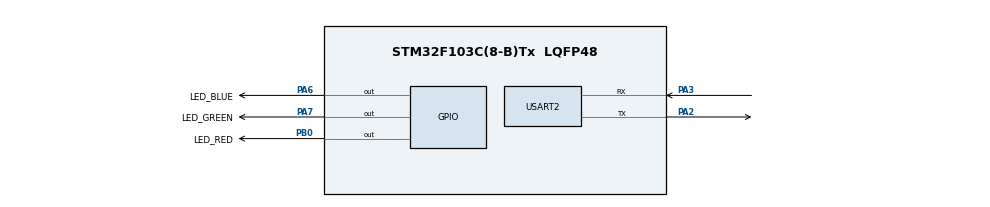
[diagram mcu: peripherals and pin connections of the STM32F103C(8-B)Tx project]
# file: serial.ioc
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Dma.Request0=USART2_TX
Dma.Request1=USART2_RX
Dma.USART2_RX.1.Direction=DMA_PERIPH_TO_MEMORY
Dma.USART2_RX.1.Instance=DMA1_Channel6
Dma.USART2_RX.1.MemDataAlignment=DMA_MDATAALIGN_BYTE
Dma.USART2_RX.1.MemInc=DMA_MINC_ENABLE
Dma.USART2_RX.1.Mode=DMA_NORMAL
Dma.USART2_RX.1.PeriphDataAlignment=DMA_PDATAALIGN_BYTE
Dma.USART2_RX.1.PeriphInc=DMA_PINC_DISABLE
Dma.USART2_RX.1.Priority=DMA_PRIORITY_LOW
Dma.USART2_TX.0.Direction=DMA_MEMORY_TO_PERIPH
Dma.USART2_TX.0.Instance=DMA1_Channel7
Dma.USART2_TX.0.MemDataAlignment=DMA_MDATAALIGN_BYTE
Dma.USART2_TX.0.MemInc=DMA_MINC_ENABLE
Dma.USART2_TX.0.Mode=DMA_NORMAL
Dma.USART2_TX.0.PeriphDataAlignment=DMA_PDATAALIGN_BYTE
Dma.USART2_TX.0.PeriphInc=DMA_PINC_DISABLE
Dma.USART2_TX.0.Priority=DMA_PRIORITY_LOW
Mcu.Family=STM32F1
Mcu.Name=STM32F103C(8-B)Tx
Mcu.Package=LQFP48
NVIC.DMA1_Channel6_IRQn=true\:0\:0\:false\:false\:true\:false\:true\:true
NVIC.DMA1_Channel7_IRQn=true\:0\:0\:false\:false\:true\:false\:true\:true
NVIC.PriorityGroup=NVIC_PRIORITYGROUP_4
NVIC.USART2_IRQn=true\:0\:0\:false\:false\:true\:true\:true\:true
PA13.Mode=Serial_Wire
PA13.Signal=SYS_JTMS-SWDIO
PA14.Mode=Serial_Wire
PA14.Signal=SYS_JTCK-SWCLK
PA2.Mode=Asynchronous
PA2.Signal=USART2_TX
PA3.Mode=Asynchronous
PA3.Signal=USART2_RX
PA6.GPIO_Label=LED_BLUE
PA6.Signal=GPIO_Output
PA7.GPIO_Label=LED_GREEN
PA7.Signal=GPIO_Output
PB0.GPIO_Label=LED_RED
PB0.Signal=GPIO_Output
ProjectManager.HeapSize=0x200
ProjectManager.StackSize=0x400
ProjectManager.TargetToolchain=STM32CubeIDE
RCC.APB1Freq_Value=8000000
RCC.APB2Freq_Value=8000000
USART2.VirtualMode=VM_ASYNC
board=custom

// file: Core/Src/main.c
/* USER CODE BEGIN Header */
/**
  ******************************************************************************
  * @file           : main.c
  * @brief          : Main program body
  ******************************************************************************
  * @attention
  *
  * Copyright (c) 2026 STMicroelectronics.
  * All rights reserved.
  *
  * This software is licensed under terms that can be found in the LICENSE file
  * in the root directory of this software component.
  * If no LICENSE file comes with this software, it is provided AS-IS.
  *
  ******************************************************************************
  */
/* USER CODE END Header */
#include "main.h"

/* USER CODE BEGIN Includes */
#include <string.h>
/* USER CODE END Includes */

UART_HandleTypeDef huart2;
DMA_HandleTypeDef hdma_usart2_tx;
DMA_HandleTypeDef hdma_usart2_rx;

/* USER CODE BEGIN PV */
uint8_t receiveData[2];
/* USER CODE END PV */

void SystemClock_Config(void);
static void MX_GPIO_Init(void);
static void MX_DMA_Init(void);
static void MX_USART2_UART_Init(void);

/* USER CODE BEGIN 0 */
void HAL_UART_RxCpltCallback(UART_HandleTypeDef *huart){
	 HAL_UART_Transmit_DMA(&huart2, receiveData, 2);
		  GPIO_PinState state = GPIO_PIN_SET;
		  if (receiveData[1] == '0'){
			  state = GPIO_PIN_RESET;
		  }
		  if (receiveData[0] == 'G'){
			  HAL_GPIO_WritePin(LED_GREEN_GPIO_Port, LED_GREEN_Pin, state);
		  }else if (receiveData [0] == 'R'){
			  HAL_GPIO_WritePin(LED_RED_GPIO_Port, LED_RED_Pin, state);
		  }else if (receiveData [0] == 'B'){
			  HAL_GPIO_WritePin(LED_BLUE_GPIO_Port, LED_BLUE_Pin, state);
		  }
		  HAL_UART_Receive_DMA(&huart2, receiveData, 2);//不放在while可以防止数据未接收完就进行下一次导致上一次被清空。
}
/* USER CODE END 0 */
void HAL_UARTEx_RxEventCallback(UART_HandleTypeDef *huart, uint16_t Size){
	if(huart == &huart2){//先判断是哪个串口触发了中断函数
		HAL_UART_Transmit_DMA(&huart2, receiveData, Size);

		HAL_UARTEx_ReceiveToIdle_DMA(&huart2, receiveData, sizeof(receiveData));//DMA模式除了串口空闲中断，DMA的传输过半中断也会触发该回调函数，但是普通模式或者中断模式不会，这里因为数据过短未触发
		__HAL_DMA_DISABLE_IT(&hdma_usart2_rx,DMA_IT_HT);
	}
}
int main(void)
{

  /* MCU Configuration--------------------------------------------------------*/

  /* Reset of all peripherals, Initializes the Flash interface and the Systick. */
  HAL_Init();

  /* Configure the system clock */
  SystemClock_Config();

  /* Initialize all configured peripherals */
  MX_GPIO_Init();
  MX_DMA_Init();
  MX_USART2_UART_Init();
  /* USER CODE BEGIN 2 */

  HAL_UART_Receive_DMA(&huart2, receiveData, 2);//不放在while可以防止数据未接收完就进行下一次导致上一次被清空。
  /* USER CODE END 2 */
  HAL_UARTEx_ReceiveToIdle_DMA(&huart2, receiveData, sizeof(receiveData));//这里的size和其他不一样，不是填写我们想要接收的数据长度，而是填写一次能接收的最大数据长度，但是一般填写接收数组长度避免接收数组越界。
  __HAL_DMA_DISABLE_IT(&hdma_usart2_rx,DMA_IT_HT);
  /* Infinite loop */
  /* USER CODE BEGIN WHILE */
  while (1)
  {
//	  HAL_UART_Receive(&huart2, receiveData, 2, HAL_MAX_DELAY);//轮询模式

//	  HAL_UART_Transmit(&huart2, receiveData, 2, 100);

//	  HAL_UART_Transmit(&huart2, (uint8_t*)message, strlen(message), 100);
//	  HAL_Delay(1000);

    /* USER CODE END WHILE */

  }
}

void SystemClock_Config(void)
{
  RCC_OscInitTypeDef RCC_OscInitStruct = {0};
  RCC_ClkInitTypeDef RCC_ClkInitStruct = {0};

  /** Initializes the RCC Oscillators according to the specified parameters
  * in the RCC_OscInitTypeDef structure.
  */
  RCC_OscInitStruct.OscillatorType = RCC_OSCILLATORTYPE_HSI;
  RCC_OscInitStruct.HSIState = RCC_HSI_ON;
  RCC_OscInitStruct.HSICalibrationValue = RCC_HSICALIBRATION_DEFAULT;
  RCC_OscInitStruct.PLL.PLLState = RCC_PLL_NONE;
  if (HAL_RCC_OscConfig(&RCC_OscInitStruct) != HAL_OK)
  {
    Error_Handler();
  }

  /** Initializes the CPU, AHB and APB buses clocks
  */
  RCC_ClkInitStruct.ClockType = RCC_CLOCKTYPE_HCLK|RCC_CLOCKTYPE_SYSCLK
                              |RCC_CLOCKTYPE_PCLK1|RCC_CLOCKTYPE_PCLK2;
  RCC_ClkInitStruct.SYSCLKSource = RCC_SYSCLKSOURCE_HSI;
  RCC_ClkInitStruct.AHBCLKDivider = RCC_SYSCLK_DIV1;
  RCC_ClkInitStruct.APB1CLKDivider = RCC_HCLK_DIV1;
  RCC_ClkInitStruct.APB2CLKDivider = RCC_HCLK_DIV1;

  if (HAL_RCC_ClockConfig(&RCC_ClkInitStruct, FLASH_LATENCY_0) != HAL_OK)
  {
    Error_Handler();
  }
}

static void MX_USART2_UART_Init(void)
{

  huart2.Instance = USART2;
  huart2.Init.BaudRate = 115200;
  huart2.Init.WordLength = UART_WORDLENGTH_8B;
  huart2.Init.StopBits = UART_STOPBITS_1;
  huart2.Init.Parity = UART_PARITY_NONE;
  huart2.Init.Mode = UART_MODE_TX_RX;
  huart2.Init.HwFlowCtl = UART_HWCONTROL_NONE;
  huart2.Init.OverSampling = UART_OVERSAMPLING_16;
  if (HAL_UART_Init(&huart2) != HAL_OK)
  {
    Error_Handler();
  }

}

static void MX_DMA_Init(void)
{

  /* DMA controller clock enable */
  __HAL_RCC_DMA1_CLK_ENABLE();

  /* DMA interrupt init */
  /* DMA1_Channel6_IRQn interrupt configuration */
  HAL_NVIC_SetPriority(DMA1_Channel6_IRQn, 0, 0);
  HAL_NVIC_EnableIRQ(DMA1_Channel6_IRQn);
  /* DMA1_Channel7_IRQn interrupt configuration */
  HAL_NVIC_SetPriority(DMA1_Channel7_IRQn, 0, 0);
  HAL_NVIC_EnableIRQ(DMA1_Channel7_IRQn);

}

static void MX_GPIO_Init(void)
{
  GPIO_InitTypeDef GPIO_InitStruct = {0};

  /* GPIO Ports Clock Enable */
  __HAL_RCC_GPIOA_CLK_ENABLE();
  __HAL_RCC_GPIOB_CLK_ENABLE();

  /*Configure GPIO pin Output Level */
  HAL_GPIO_WritePin(GPIOA, LED_BLUE_Pin|LED_GREEN_Pin, GPIO_PIN_RESET);

  /*Configure GPIO pin Output Level */
  HAL_GPIO_WritePin(LED_RED_GPIO_Port, LED_RED_Pin, GPIO_PIN_RESET);

  /*Configure GPIO pins : LED_BLUE_Pin LED_GREEN_Pin */
  GPIO_InitStruct.Pin = LED_BLUE_Pin|LED_GREEN_Pin;
  GPIO_InitStruct.Mode = GPIO_MODE_OUTPUT_PP;
  GPIO_InitStruct.Pull = GPIO_NOPULL;
  GPIO_InitStruct.Speed = GPIO_SPEED_FREQ_LOW;
  HAL_GPIO_Init(GPIOA, &GPIO_InitStruct);

  /*Configure GPIO pin : LED_RED_Pin */
  GPIO_InitStruct.Pin = LED_RED_Pin;
  GPIO_InitStruct.Mode = GPIO_MODE_OUTPUT_PP;
  GPIO_InitStruct.Pull = GPIO_NOPULL;
  GPIO_InitStruct.Speed = GPIO_SPEED_FREQ_LOW;
  HAL_GPIO_Init(LED_RED_GPIO_Port, &GPIO_InitStruct);

}

void Error_Handler(void)
{
  __disable_irq();
  while (1)
  {
  }
}
